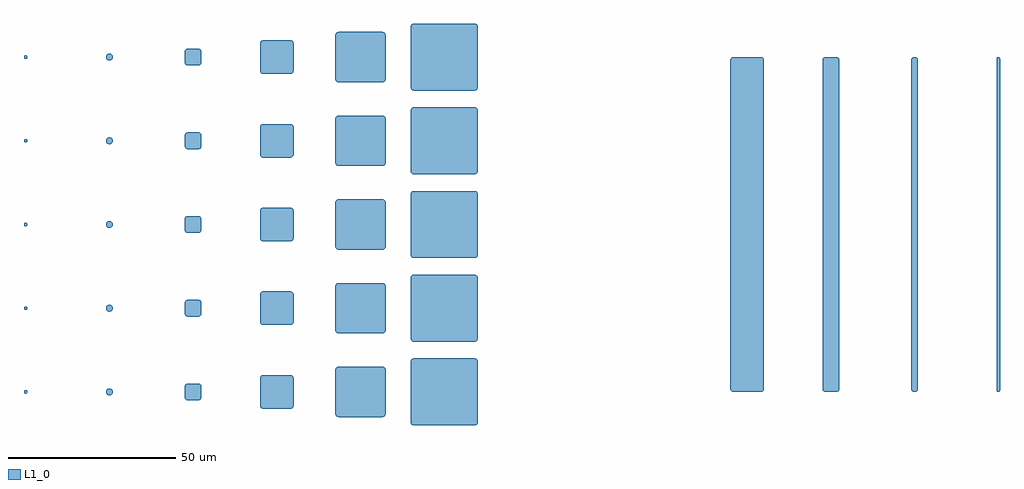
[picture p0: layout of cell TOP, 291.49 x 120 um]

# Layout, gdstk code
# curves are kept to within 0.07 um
import gdstk
lib = gdstk.Library(unit=1e-6, precision=1e-09)
def P(c, l, *ps):  # polygons
    for p in ps: c.add(gdstk.Polygon(p, *l))
L1_0 = (1, 0)

top = lib.new_cell('TOP')
P(top, L1_0, [(-67.275,-50.5),(-67.621,-50.336),(-67.75,-49.975),(-67.586,-49.629),(-67.225,-49.5),(-66.879,-49.664),(-66.75,-50.025),(-66.914,-50.371)],
  [(-42.299,-51),(-42.678,-50.905),(-42.992,-50.672),(-43.193,-50.337),(-43.25,-49.951),(-43.155,-49.572),(-42.922,-49.258),(-42.587,-49.057),(-42.201,-49),(-41.822,-49.095),(-41.508,-49.328),(-41.307,-49.663),(-41.25,-50.049),(-41.345,-50.428),(-41.578,-50.742),(-41.913,-50.943)],
  [(-18.799,-52.5),(-19.422,-52.242),(-19.74,-51.647),(-19.75,-48.451),(-19.554,-47.904),(-19.265,-47.641),(-18.799,-47.5),(-15.701,-47.5),(-15.154,-47.696),(-14.891,-47.985),(-14.75,-48.451),(-14.75,-51.549),(-14.946,-52.096),(-15.235,-52.359),(-15.603,-52.49)],
  [(3.701,-55),(3.078,-54.742),(2.845,-54.428),(2.75,-54.049),(2.75,-45.951),(3.008,-45.328),(3.322,-45.095),(3.701,-45),(11.799,-45),(12.422,-45.258),(12.655,-45.572),(12.75,-45.951),(12.75,-54.049),(12.492,-54.672),(12.178,-54.905),(11.799,-55)],
  [(26.201,-57.5),(25.578,-57.242),(25.345,-56.928),(25.25,-56.549),(25.25,-43.451),(25.508,-42.828),(25.822,-42.595),(26.201,-42.5),(39.299,-42.5),(39.922,-42.758),(40.155,-43.072),(40.25,-43.451),(40.25,-56.549),(39.992,-57.172),(39.678,-57.405),(39.299,-57.5)],
  [(48.701,-60),(48.078,-59.742),(47.845,-59.428),(47.75,-59.049),(47.75,-40.951),(48.008,-40.328),(48.322,-40.095),(48.701,-40),(66.799,-40),(67.422,-40.258),(67.655,-40.572),(67.75,-40.951),(67.75,-59.049),(67.492,-59.672),(67.178,-59.905),(66.799,-60)],
  [(-67.275,-25.5),(-67.621,-25.336),(-67.75,-24.975),(-67.586,-24.629),(-67.225,-24.5),(-66.879,-24.664),(-66.75,-25.025),(-66.914,-25.371)],
  [(-42.299,-26),(-42.678,-25.905),(-42.992,-25.672),(-43.193,-25.337),(-43.25,-24.951),(-43.155,-24.572),(-42.922,-24.258),(-42.587,-24.057),(-42.201,-24),(-41.822,-24.095),(-41.508,-24.328),(-41.307,-24.663),(-41.25,-25.049),(-41.345,-25.428),(-41.578,-25.742),(-41.913,-25.943)],
  [(-18.799,-27.5),(-19.422,-27.242),(-19.74,-26.647),(-19.75,-23.451),(-19.554,-22.904),(-19.265,-22.641),(-18.799,-22.5),(-15.701,-22.5),(-15.154,-22.696),(-14.891,-22.985),(-14.75,-23.451),(-14.75,-26.549),(-14.946,-27.096),(-15.235,-27.359),(-15.603,-27.49)],
  [(3.701,-30),(3.078,-29.742),(2.845,-29.428),(2.75,-29.049),(2.75,-20.951),(3.008,-20.328),(3.322,-20.095),(3.701,-20),(11.799,-20),(12.422,-20.258),(12.655,-20.572),(12.75,-20.951),(12.75,-29.049),(12.492,-29.672),(12.178,-29.905),(11.799,-30)],
  [(26.201,-32.5),(25.578,-32.242),(25.345,-31.928),(25.25,-31.549),(25.25,-18.451),(25.508,-17.828),(25.822,-17.595),(26.201,-17.5),(39.299,-17.5),(39.922,-17.758),(40.155,-18.072),(40.25,-18.451),(40.25,-31.549),(39.992,-32.172),(39.678,-32.405),(39.299,-32.5)],
  [(48.701,-35),(48.078,-34.742),(47.845,-34.428),(47.75,-34.049),(47.75,-15.951),(48.008,-15.328),(48.322,-15.095),(48.701,-15),(66.799,-15),(67.422,-15.258),(67.655,-15.572),(67.75,-15.951),(67.75,-34.049),(67.492,-34.672),(67.178,-34.905),(66.799,-35)],
  [(-67.275,-0.5),(-67.621,-0.336),(-67.75,0.025),(-67.586,0.371),(-67.225,0.5),(-66.879,0.336),(-66.75,-0.025),(-66.914,-0.371)],
  [(-42.299,-1),(-42.678,-0.905),(-42.992,-0.672),(-43.193,-0.337),(-43.25,0.049),(-43.155,0.428),(-42.922,0.742),(-42.587,0.943),(-42.201,1),(-41.822,0.905),(-41.508,0.672),(-41.307,0.337),(-41.25,-0.049),(-41.345,-0.428),(-41.578,-0.742),(-41.913,-0.943)],
  [(-18.799,-2.5),(-19.422,-2.242),(-19.74,-1.647),(-19.75,1.549),(-19.554,2.096),(-19.265,2.359),(-18.799,2.5),(-15.701,2.5),(-15.154,2.304),(-14.891,2.015),(-14.75,1.549),(-14.75,-1.549),(-14.946,-2.096),(-15.235,-2.359),(-15.603,-2.49)],
  [(3.701,-5),(3.078,-4.742),(2.845,-4.428),(2.75,-4.049),(2.75,4.049),(3.008,4.672),(3.322,4.905),(3.701,5),(11.799,5),(12.422,4.742),(12.655,4.428),(12.75,4.049),(12.75,-4.049),(12.492,-4.672),(12.178,-4.905),(11.799,-5)],
  [(26.201,-7.5),(25.578,-7.242),(25.345,-6.928),(25.25,-6.549),(25.25,6.549),(25.508,7.172),(25.822,7.405),(26.201,7.5),(39.299,7.5),(39.922,7.242),(40.155,6.928),(40.25,6.549),(40.25,-6.549),(39.992,-7.172),(39.678,-7.405),(39.299,-7.5)],
  [(48.701,-10),(48.078,-9.742),(47.845,-9.428),(47.75,-9.049),(47.75,9.049),(48.008,9.672),(48.322,9.905),(48.701,10),(66.799,10),(67.422,9.742),(67.655,9.428),(67.75,9.049),(67.75,-9.049),(67.492,-9.672),(67.178,-9.905),(66.799,-10)],
  [(-67.275,24.5),(-67.621,24.664),(-67.75,25.025),(-67.586,25.371),(-67.225,25.5),(-66.879,25.336),(-66.75,24.975),(-66.914,24.629)],
  [(-42.299,24),(-42.678,24.095),(-42.992,24.328),(-43.193,24.663),(-43.25,25.049),(-43.155,25.428),(-42.922,25.742),(-42.587,25.943),(-42.201,26),(-41.822,25.905),(-41.508,25.672),(-41.307,25.337),(-41.25,24.951),(-41.345,24.572),(-41.578,24.258),(-41.913,24.057)],
  [(-18.799,22.5),(-19.422,22.758),(-19.74,23.353),(-19.75,26.549),(-19.554,27.096),(-19.265,27.359),(-18.799,27.5),(-15.701,27.5),(-15.154,27.304),(-14.891,27.015),(-14.75,26.549),(-14.75,23.451),(-14.946,22.904),(-15.235,22.641),(-15.603,22.51)],
  [(3.701,20),(3.078,20.258),(2.845,20.572),(2.75,20.951),(2.75,29.049),(3.008,29.672),(3.322,29.905),(3.701,30),(11.799,30),(12.422,29.742),(12.655,29.428),(12.75,29.049),(12.75,20.951),(12.492,20.328),(12.178,20.095),(11.799,20)],
  [(26.201,17.5),(25.578,17.758),(25.345,18.072),(25.25,18.451),(25.25,31.549),(25.508,32.172),(25.822,32.405),(26.201,32.5),(39.299,32.5),(39.922,32.242),(40.155,31.928),(40.25,31.549),(40.25,18.451),(39.992,17.828),(39.678,17.595),(39.299,17.5)],
  [(48.701,15),(48.078,15.258),(47.845,15.572),(47.75,15.951),(47.75,34.049),(48.008,34.672),(48.322,34.905),(48.701,35),(66.799,35),(67.422,34.742),(67.655,34.428),(67.75,34.049),(67.75,15.951),(67.492,15.328),(67.178,15.095),(66.799,15)],
  [(144.19,-50),(143.567,-49.742),(143.334,-49.428),(143.239,-49.049),(143.239,49.049),(143.497,49.672),(144.092,49.99),(152.288,50),(152.911,49.742),(153.144,49.428),(153.239,49.049),(153.239,-49.049),(152.981,-49.672),(152.386,-49.99)],
  [(171.69,-50),(171.067,-49.742),(170.834,-49.428),(170.739,-49.049),(170.739,49.049),(170.997,49.672),(171.496,49.971),(174.788,50),(175.411,49.742),(175.644,49.428),(175.739,49.049),(175.739,-49.049),(175.481,-49.672),(174.982,-49.971)],
  [(198.19,-50),(197.567,-49.742),(197.334,-49.428),(197.239,-49.049),(197.239,49.049),(197.334,49.428),(197.567,49.742),(197.902,49.943),(198.288,50),(198.911,49.742),(199.144,49.428),(199.239,49.049),(199.239,-49.049),(199.144,-49.428),(198.911,-49.742),(198.576,-49.943)],
  [(223.214,-50),(222.903,-49.871),(222.739,-49.525),(222.739,49.525),(222.903,49.871),(223.264,50),(223.575,49.871),(223.739,49.525),(223.739,-49.525),(223.575,-49.871)],
  [(-67.275,49.5),(-67.621,49.664),(-67.75,50.025),(-67.586,50.371),(-67.225,50.5),(-66.879,50.336),(-66.75,49.975),(-66.914,49.629)],
  [(-42.299,49),(-42.678,49.095),(-42.992,49.328),(-43.193,49.663),(-43.25,50.049),(-43.155,50.428),(-42.922,50.742),(-42.587,50.943),(-42.201,51),(-41.822,50.905),(-41.508,50.672),(-41.307,50.337),(-41.25,49.951),(-41.345,49.572),(-41.578,49.258),(-41.913,49.057)],
  [(-18.799,47.5),(-19.422,47.758),(-19.74,48.353),(-19.75,51.549),(-19.554,52.096),(-19.265,52.359),(-18.799,52.5),(-15.701,52.5),(-15.154,52.304),(-14.891,52.015),(-14.75,51.549),(-14.75,48.451),(-14.946,47.904),(-15.235,47.641),(-15.603,47.51)],
  [(3.701,45),(3.078,45.258),(2.845,45.572),(2.75,45.951),(2.75,54.049),(3.008,54.672),(3.322,54.905),(3.701,55),(11.799,55),(12.422,54.742),(12.655,54.428),(12.75,54.049),(12.75,45.951),(12.492,45.328),(12.178,45.095),(11.799,45)],
  [(26.201,42.5),(25.578,42.758),(25.345,43.072),(25.25,43.451),(25.25,56.549),(25.508,57.172),(25.822,57.405),(26.201,57.5),(39.299,57.5),(39.922,57.242),(40.155,56.928),(40.25,56.549),(40.25,43.451),(39.992,42.828),(39.678,42.595),(39.299,42.5)],
  [(48.701,40),(48.078,40.258),(47.845,40.572),(47.75,40.951),(47.75,59.049),(48.008,59.672),(48.322,59.905),(48.701,60),(66.799,60),(67.422,59.742),(67.655,59.428),(67.75,59.049),(67.75,40.951),(67.492,40.328),(67.178,40.095),(66.799,40)])

lib.write_gds('TOP.gds')
